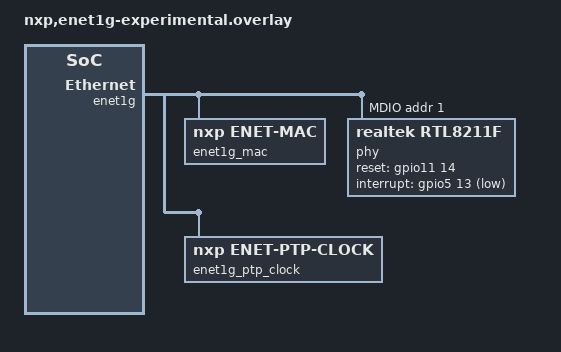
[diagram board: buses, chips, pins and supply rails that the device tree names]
/*
 * Copyright 2023-2024 NXP
 *
 * Experimental ENET_1G binding overlay
 */


/ {
	soc {
		/delete-node/ ethernet@40424000;
		/delete-node/ ethernet@40420000;

		enet1g: ethernet@40420000 {
			compatible = "nxp,enet";
			reg = <0x40420000 0x628>;
			clocks = <&ccm IMX_CCM_ENET1G_CLK 0 0>;
			enet1g_mac: ethernet {
				compatible = "nxp,enet-mac";
				interrupts = <141 0>;
				interrupt-names = "COMMON";
				nxp,mdio = <&enet1g_mdio>;
				nxp,ptp-clock = <&enet1g_ptp_clock>;
				status = "disabled";
			};
			enet1g_mdio: mdio {
				compatible = "nxp,enet-mdio";
				status = "disabled";
				#address-cells = <1>;
				#size-cells = <0>;
			};
			enet1g_ptp_clock: ptp_clock {
				compatible = "nxp,enet-ptp-clock";
				interrupts = <142 0>;
				status = "disabled";
				clocks = <&ccm IMX_CCM_ENET_PLL 0 0>;
			};
		};
	};
};

&enet1g {
	status = "okay";
};

&enet1g_mac {
	status = "okay";
	pinctrl-0 = <&pinmux_enet1g>;
	pinctrl-names = "default";
	phy-handle = <&phy>;
	phy-connection-type = "rgmii";
};

&enet1g_mdio {
	status = "okay";
	pinctrl-0 = <&pinmux_enet1g_mdio>;
	pinctrl-names = "default";
	phy: phy@1 {
		compatible = "realtek,rtl8211f";
		reg = <1>;
		status = "okay";
		rt,reset-gpio = <&gpio11 14 GPIO_ACTIVE_HIGH>;
		rt,interrupt-gpio = <&gpio5 13 GPIO_ACTIVE_LOW>;
	};
};

&enet1g_ptp_clock {
	status = "okay";
	pinctrl-0 = <&pinmux_enet1g_ptp>;
	pinctrl-names = "default";
};



&pinctrl {
	/delete-node/ pinmux_ptp;
	/delete-node/ pinmux_enet;

	pinmux_enet1g: pinmux_enet1g {
		group0 {
			pinmux = <&iomuxc_gpio_disp_b1_11_enet_1g_tx_clk_io>,	// ENET_RGMII_TXC
				<&iomuxc_gpio_disp_b1_01_enet_1g_rx_clk>;	// ENET_RGMII_RXC
			bias-disable;
			drive-strength = "high";
			slew-rate = "fast";
			input-enable;
		};
		group1 {
			pinmux = <&iomuxc_gpio_disp_b1_09_enet_1g_tdata00>,	// ENET_RGMII_TXD0
				<&iomuxc_gpio_disp_b1_08_enet_1g_tdata01>,	// ENET_RGMII_TXD1
				<&iomuxc_gpio_disp_b1_07_enet_1g_tdata02>,	// ENET_RGMII_TXD2
				<&iomuxc_gpio_disp_b1_06_enet_1g_tdata03>,	// ENET_RGMII_TXD3
				<&iomuxc_gpio_disp_b1_10_enet_1g_tx_en>;	// ENET_RGMII_TX_EN
			drive-strength = "high";
			bias-pull-up;
			slew-rate = "fast";
		};
		group2 {
			pinmux = <&iomuxc_gpio_disp_b1_02_enet_1g_rdata00>,	// ENET_RGMII_RXD0
				<&iomuxc_gpio_disp_b1_03_enet_1g_rdata01>,	// ENET_RGMII_RXD1
				<&iomuxc_gpio_disp_b1_04_enet_1g_rdata02>,	// ENET_RGMII_RXD2
				<&iomuxc_gpio_disp_b1_05_enet_1g_rdata03>,	// ENET_RGMII_RXD3
				<&iomuxc_gpio_disp_b1_00_enet_1g_rx_en>;	// ENET_RGMII_RX_EN
			drive-strength = "high";
			bias-pull-down;
			slew-rate = "fast";
			input-enable;
		};
	};

	pinmux_enet1g_mdio: pinmux_enet1g_mdio {
		group0 {
			pinmux = <&iomuxc_gpio_disp_b2_13_gpio11_io14>;	// ETHPHY_RST_B
			drive-strength = "high";
			bias-pull-down;
			slew-rate = "slow";
		};
		group1 {
			pinmux = <&iomuxc_gpio_disp_b2_12_gpio_mux5_io13>;	// RGMII1_PHY_INTB
			drive-strength = "high";
			bias-pull-down;
			slew-rate = "fast";
			input-enable;
		};
		group2 {
			pinmux = <&iomuxc_gpio_emc_b2_19_enet_1g_mdc>,	// ENET_RGMII_MDC
				<&iomuxc_gpio_emc_b2_20_enet_1g_mdio>;		// ENET_RGMII_MDIO
			drive-strength = "high";
			bias-pull-down;
			slew-rate = "fast";
		};
	};

	pinmux_enet1g_ptp: pinmux_enet1g_ptp {
	};
};
